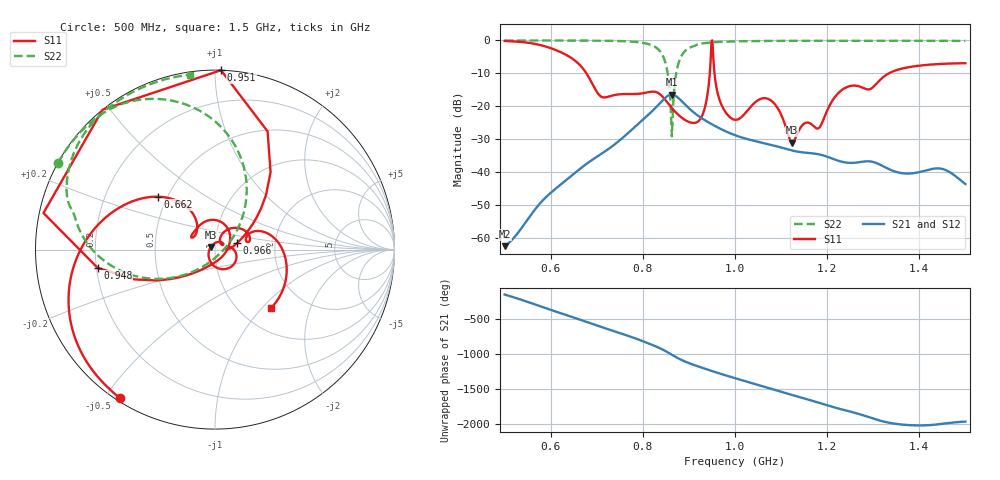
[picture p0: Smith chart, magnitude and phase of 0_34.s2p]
! TOUCHSTONE file generated by CST MICROWAVE STUDIO
! Date and time: Mon Sep 28 14:15:30 2020
! Project name: Scenario_1_Free_SPace.cst
! Parameters = {dx1=744.8; L_HA=400; MT=2.54; Rad_Dielectric=30; Rad_Lower=7.3; Rad_Upper=30; a_HA=580; a_WG=246; b_HA=500; b_WG=121; c_HA=0; c_WG=187; d_feed=85; h_feed=15; h_lower=18; h_upper=40}
! Header version: 2018
! Port assignment regex: !\s*Touchstone port\s*([0-9]+)\s*=\s*(CST MWS port|CST DS port)\s*([0-9]+|Zmin|Zmax)\s*\(\"(.*)\"\)(\s*mode\s*([0-9]+))?.*
! Touchstone port assignment:
! Touchstone port 1 = CST MWS port 1 ("")
! Touchstone port 2 = CST MWS port 2 ("")
# GHz S DB R 50
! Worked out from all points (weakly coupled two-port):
!   1003 points, 500 MHz to 1.5 GHz, reference 50 ohm
!   highest |S21| = -16.47 dB at 863 MHz (marker M1); lowest = -62.5 dB at 500 MHz (marker M2)
!   lowest |S11| = -31.1 dB at 1.124 GHz (marker M3), VSWR 1.06, Z = 47.7 + j1.46 ohm
!   |S11| at or under -10 dB: 677.5 MHz to 945.3 MHz (267.8 MHz wide, 33 % of centre); 955.5 MHz to 1.334 GHz (378.5 MHz wide, 33.1 % of centre)
!   |S22| runs from -29.1 to 0.0 dB; largest |S21 - S12| = 0.00013
!   S11 on the Smith chart (normalised r, x): 500 MHz: 0.01, -0.55; 662 MHz: 0.45, +0.32; 948 MHz: 0.20, -0.07; 951 MHz: -0.00, +1.03; 966 MHz: 1.28, +0.09; 1.5 GHz: 1.38, -1.12
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0.5  -0.15 -122.5  -62.53 -146.0  -62.53 -146.0  -0.01 151.1
0.583  -1.59 -166.6  -48.59 33.2  -48.59 33.2  -0.01 145.4
0.662  -7.29 137.0  -39.20 -142.2  -39.20 -142.2  -0.04 138.9
0.667  -8.04 133.0  -38.65 -153.6  -38.65 -153.6  -0.04 138.4
0.712  -17.23 140.3  -34.26 104.4  -34.26 104.4  -0.08 133.4
0.834  -16.03 78.1  -19.52 173.5  -19.52 173.5  -2.76 91.2
0.85  -18.28 47.9  -17.26 120.9  -17.26 120.9  -7.34 66.2
0.863  -20.54 28.1  -16.47 71.1  -16.47 71.1  -29.12 -45.0
0.882  -23.20 1.9  -18.13 2.2  -18.13 2.2  -5.19 -168.3
0.923  -24.19 -74.9  -23.18 -103.4  -23.18 -103.4  -1.07 159.2
0.943  -13.48 -137.6  -24.94 -147.6  -24.94 -147.6  -0.67 152.0
0.948  -3.58 -171.2  -25.33 -158.4  -25.33 -158.4  -0.61 150.6
0.951  0.00 88.1  -25.58 -164.9  -25.58 -164.9  -0.58 149.8
0.956  -10.67 37.7  -25.96 -175.5  -25.96 -175.5  -0.53 148.6
0.966  -17.86 16.3  -26.69 163.6  -26.69 163.6  -0.45 146.5
1  -24.11 4.5  -28.79 95.1  -28.79 95.1  -0.28 140.8
1.072  -17.77 -51.3  -31.52 -45.6  -31.52 -45.6  -0.15 132.6
1.124  -31.09 146.8  -33.46 -146.3  -33.46 -146.3  -0.11 127.9
1.167  -25.60 30.4  -34.30 132.2  -34.30 132.2  -0.10 124.4
1.234  -14.86 41.1  -36.94 3.3  -36.94 3.3  -0.09 119.2
1.334  -10.00 15.3  -39.11 176.9  -39.10 177.0  -0.09 111.7
1.5  -6.92 -45.9  -43.65 -167.5  -43.66 -167.6  -0.14 98.1
